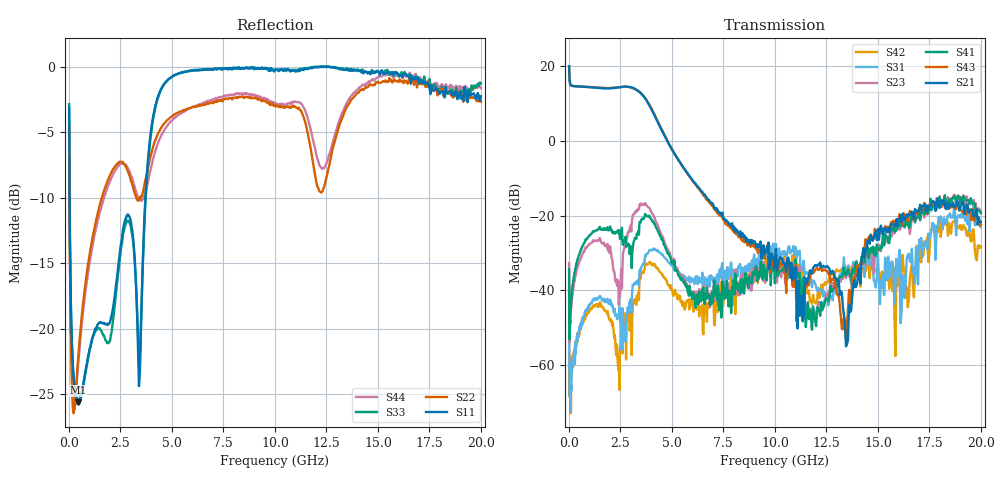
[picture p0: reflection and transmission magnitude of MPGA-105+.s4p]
!Mini-Circuits Laboratory
!S-Parameters
!Model: MPGA-105+
!Run / Lot / Date Code: NA / BP384P001-05 / 1348
!Fixture: NA; TB-561+
!AUTO PORT EXTENSION DONE: PORT<1>=113.35ps; PORT<2>=112.76ps; PORT<3>=112.16ps; PORT<4>=112.11ps
!Network Analyzer: PNA-X N5242A - 423 4 ports;  Serial number: 71256
!Date: 2/15/2014
!S/N: Unit# 1
!Correction: S11(Full 4 Port(1,2,3,4))
!S12(Full 4 Port(1,2,3,4))
!S13(Full 4 Port(1,2,3,4))
!S14(Full 4 Port(1,2,3,4))
!S21(Full 4 Port(1,2,3,4))
!S22(Full 4 Port(1,2,3,4))
!S23(Full 4 Port(1,2,3,4))
!S24(Full 4 Port(1,2,3,4))
!S31(Full 4 Port(1,2,3,4))
!S32(Full 4 Port(1,2,3,4))
!S33(Full 4 Port(1,2,3,4))
!S34(Full 4 Port(1,2,3,4))
!S41(Full 4 Port(1,2,3,4))
!S42(Full 4 Port(1,2,3,4))
!S43(Full 4 Port(1,2,3,4))
!S44(Full 4 Port(1,2,3,4))
!S4P File: Measurements: <S11,S12,S13,S14>,
!<S21,S22,S23,S24>,
!<S31,S32,S33,S34>,
!<S41,S42,S43,S44>:
# Hz S  dB  R 50
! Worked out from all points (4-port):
!   660 points, 10 MHz to 20 GHz, reference 50 ohm
!   strongest paths, dB at 10 MHz, 2.65 GHz, 6.775 GHz, 11.8 GHz, 20 GHz:
!     S21: 20.0, 14.6, -15.7, -35.5, -21.7
!     S43: 20.1, 14.6, -16.1, -35.3, -22.3
!     S41: -34.3, -27.1, -42.0, -50.5, -19.3
!     S23: -32.6, -29.5, -41.4, -50.2, -18.7
!     S31: -44.7, -50.2, -37.3, -39.2, -23.1
!     S42: -38.6, -49.7, -43.6, -43.6, -28.2
!   lowest |S11| = -25.6 dB at 430 MHz (marker M1), VSWR 1.11, Z = 47.7 - j4.56 ohm
!   |S11| at or under -10 dB: 33.64 MHz to 3.712 GHz (3.678 GHz wide, 196 % of centre)
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1e7  -3.09 -38.6  -22.50 50.7  -41.96 76.3  -47.15 56.3
     20.04 158.9  -4.55 -42.0  -32.64 88.3  -38.78 67.0
     -44.74 104.0  -48.75 98.8  -2.85 -38.9  -22.33 47.1
     -34.35 111.6  -38.64 107.0  20.08 159.8  -4.07 -42.1
4.3e8  -25.61 -114.6  -18.94 -17.8  -55.39 110.7  -91.58 -73.9
       14.65 149.1  -22.56 128.0  -33.60 46.5  -53.41 88.0
       -51.40 89.5  -70.27 81.2  -25.66 -114.5  -18.92 -18.2
       -31.53 46.8  -52.86 81.1  14.67 149.0  -23.01 133.8
1.525e9  -19.52 76.0  -20.47 -67.7  -42.54 68.9  -58.66 107.0
         14.17 78.5  -10.40 64.2  -26.44 -65.1  -42.87 52.1
         -41.58 45.2  -58.50 94.7  -20.06 79.4  -20.45 -68.7
         -23.40 -58.3  -43.20 30.2  14.28 77.6  -10.95 62.9
2.65e9  -12.22 -153.7  -27.91 -152.4  -49.11 44.9  -60.44 65.1
        14.60 -1.1  -7.34 -10.5  -29.53 -22.6  -45.00 -35.2
        -50.18 -99.9  -57.69 115.0  -12.62 -155.8  -27.67 -151.1
        -27.11 -139.1  -49.72 -160.9  14.56 -3.7  -7.37 -15.0
3.325e9  -19.63 120.6  -23.54 -29.1  -49.13 -159.8  -56.31 -123.4
         13.60 -67.1  -10.17 -99.7  -18.60 -124.4  -36.77 -165.6
         -37.76 159.4  -63.96 151.1  -19.11 124.6  -24.32 -32.8
         -24.88 -145.0  -41.84 174.9  13.54 -69.0  -9.82 -95.2
4e9  -4.71 171.2  -19.83 -110.7  -29.02 110.6  -43.77 115.1
     8.60 -135.7  -6.60 150.3  -18.97 121.7  -31.41 101.8
     -29.24 103.5  -46.15 107.9  -4.93 167.3  -19.85 -114.3
     -20.96 117.3  -32.73 107.8  8.82 -138.4  -7.59 149.3
2e10  -2.24 5.5  -21.67 -18.1  -23.04 75.4  -19.33 -71.7
      -21.67 -17.6  -2.64 -4.2  -18.71 -73.4  -28.29 113.3
      -23.05 75.1  -18.68 -73.2  -1.25 -17.0  -22.33 -17.6
      -19.33 -71.9  -28.22 113.1  -22.33 -17.3  -1.61 -20.8
